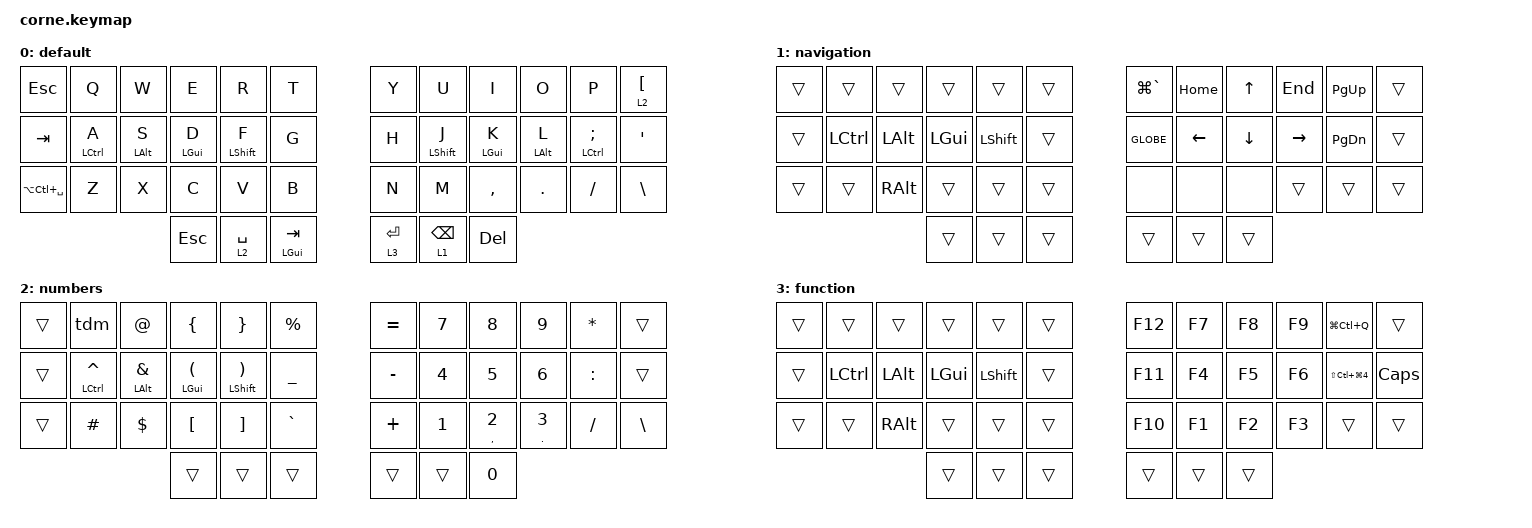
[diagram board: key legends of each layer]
/*
 * Copyright (c) 2020 The ZMK Contributors
 *
 * SPDX-License-Identifier: MIT
 */

#include <behaviors.dtsi>
#include <dt-bindings/zmk/keys.h>

// Layer Definitions

#define DEFAULT 0
#define NAV 1
#define NUM 2
#define FN 3

// Behavior configuration

&mt {
    flavor = "tap-preferred";
    tapping-term-ms = <200>;
    quick-tap-ms = <200>;
    require-prior-idle-ms = <125>;
};

&lt {
    flavor = "tap-preferred";
    tapping-term-ms = <200>;
    quick-tap-ms = <200>;
    require-prior-idle-ms = <125>;
};

/ {
    behaviors {
        tdb: td_brackets {
            compatible = "zmk,behavior-tap-dance";
            #binding-cells = <0>;
            tapping-term-ms = <200>;
            bindings = <&kp LEFT_BRACKET>, <&kp RIGHT_BRACKET>;
        };

        tdm: td_marks {
            compatible = "zmk,behavior-tap-dance";
            #binding-cells = <0>;
            tapping-term-ms = <200>;
            bindings = <&kp EXCL>, <&kp QUESTION>;
        };
    };

    keymap {
        compatible = "zmk,keymap";

        default {
            // ------------------------------------------------------------------------------------------------------------------
            // | ESC  |   Q    |   W   |   E   |     R     |    T    | # |    Y     |    U     |   I   |   O   |   P    | [\NUM |
            // | TAB  | A/CTRL | S/OPT | D/CMD |  F/LSHFT  |    G    | # |    H     |  J/SHFT  | K/CMD | L/OPT | ;/CTRL |   '   |
            // | LANG |   Z    |   X   |   C   |     V     |    B    | # |    N     |    M     |   ,   |   .   |   /    |   \   |
            //                         |  ESC  | SPACE/NUM | TAB/CMD | # | ENTER/FN | BSPC/NAV |  DEL  |

            bindings = <
&kp ESCAPE         &kp Q        &kp W       &kp E       &kp R        &kp T           &kp Y        &kp U        &kp I           &kp O       &kp P           &lt 2 LEFT_BRACKET
&kp TAB            &mt LCTRL A  &mt LALT S  &mt LGUI D  &mt LSHFT F  &kp G           &kp H        &mt LSHFT J  &mt LEFT_GUI K  &mt LALT L  &mt LCTRL SEMI  &kp SINGLE_QUOTE
&kp LA(LC(SPACE))  &kp Z        &kp X       &kp C       &kp V        &kp B           &kp N        &kp M        &kp COMMA       &kp DOT     &kp FSLH        &kp BSLH
                                            &kp ESCAPE  &lt 2 SPACE  &mt LGUI TAB    &lt 3 ENTER  &lt 1 BSPC   &kp DEL
            >;
        };

        navigation {
            // --------------------------------------------------------------------------------------------
            // |     |       |      |       |       |     | # | SWTCH | HOME |  UP  |  END  | PGUP  |     |
            // |     | LCTRL | LOPT | LCOMM | LSHFT |     | # | GLOBE | LEFT | DOWN | RIGHT | PGDN  |     |
            // |     |       | ROPT |       |       |     | # |       |      |      |       |       |     |
            //                      |       |       |     | # |       | HELD |      |

            bindings = <
&trans  &trans     &trans    &trans    &trans     &trans    &kp LG(GRAVE)  &kp HOME  &kp UP    &kp END    &kp PG_UP  &trans
&trans  &kp LCTRL  &kp LALT  &kp LGUI  &kp LSHFT  &trans    &kp GLOBE      &kp LEFT  &kp DOWN  &kp RIGHT  &kp PG_DN  &trans
&trans  &trans     &kp RALT  &trans    &trans     &trans    &none          &none     &none     &trans     &trans     &trans
                             &trans    &trans     &trans    &trans         &trans    &trans
            >;
        };

        numbers {
            // ----------------------------------------------------------------------------------------------------
            // |     |    !    |    @   |    {    |    }    |   %   | # |   =   |  7   |  8   |   9   |  *  |     |
            // |     | ^/LCTRL | &/LOPT | (/LCOMM | )/LSHFT |   _   | # |   -   |  4   |  5   |   6   |  :  |     |
            // |     |    #    |    $   |    [    |    ]    |   `   | # |   +   |  1   |  2/, |  3/.  |  /  |  \  |
            //                          |   ESC   |  HELD   |  TAB  | # | ENTER | BSPC |  0   |

            bindings = <
&trans  &tdm             &kp AT         &kp LEFT_BRACE             &kp RIGHT_BRACE              &kp PRCNT    &kp EQUAL  &kp N7  &kp N8        &kp N9      &kp ASTERISK  &trans
&trans  &mt LCTRL CARET  &mt LALT AMPS  &mt LGUI LEFT_PARENTHESIS  &mt LSHFT RIGHT_PARENTHESIS  &kp UNDER    &kp MINUS  &kp N4  &kp N5        &kp N6      &kp COLON     &trans
&trans  &kp HASH         &kp DOLLAR     &kp LEFT_BRACKET           &kp RIGHT_BRACKET            &kp GRAVE    &kp PLUS   &kp N1  &mt COMMA N2  &mt DOT N3  &kp SLASH     &kp BACKSLASH
                                        &trans                     &trans                       &trans       &trans     &trans  &kp N0
            >;
        };

        function {
            // --------------------------------------------------------------------------------------------
            // |     |       |      |       |       |     | # |  F12  |  F7  |  F8  |  F9  | LOCK  |      |
            // |     | LCTRL | LOPT | LCOMM | LSHFT |     | # |  F11  |  F4  |  F5  |  F6  | PSCRN | CAPS |
            // |     |       | ROPT |       |       |     | # |  F10  |  F1  |  F2  |  F3  |       |      |
            //                      |       |       |     | # | HELD  |      |      |

            bindings = <
&trans  &trans     &trans    &trans    &trans     &trans    &kp F12  &kp F7  &kp F8  &kp F9  &kp LG(LC(Q))       &trans
&trans  &kp LCTRL  &kp LALT  &kp LGUI  &kp LSHFT  &trans    &kp F11  &kp F4  &kp F5  &kp F6  &kp LS(LC(LG(N4)))  &kp CAPS
&trans  &trans     &kp RALT  &trans    &trans     &trans    &kp F10  &kp F1  &kp F2  &kp F3  &trans              &trans
                             &trans    &trans     &trans    &trans   &trans  &trans
            >;
        };
    };
};
